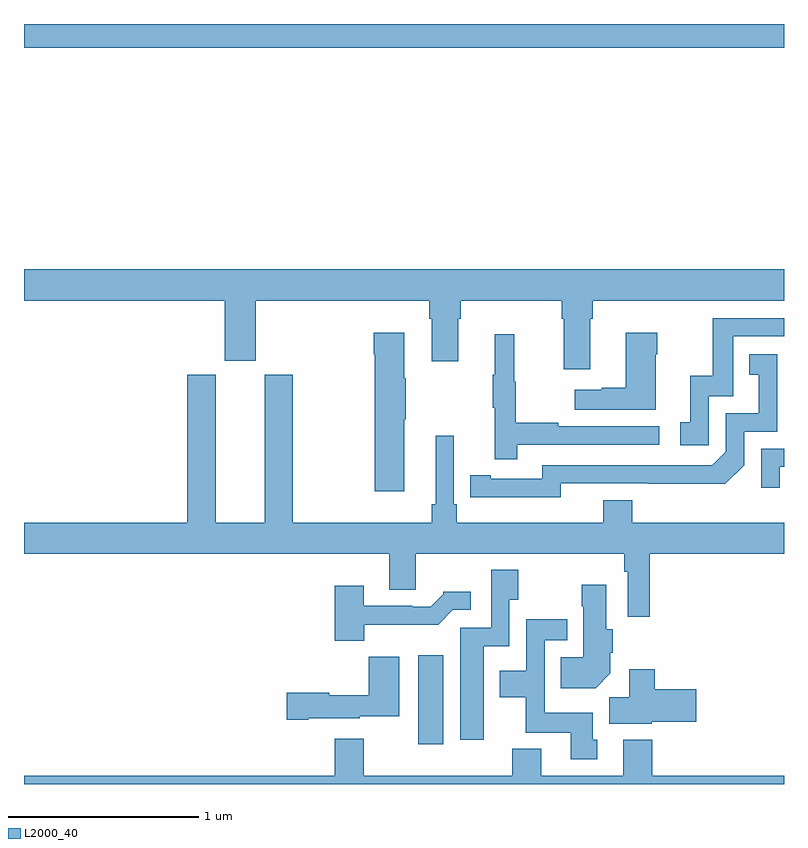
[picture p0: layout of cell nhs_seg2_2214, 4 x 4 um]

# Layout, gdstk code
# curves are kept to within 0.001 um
import gdstk
lib = gdstk.Library(unit=1e-6, precision=1e-09)
def R(c, l, rs):  # rectangles x0, y0, x1, y1
    for r in rs: c.add(gdstk.rectangle(r[:2], r[2:], *l))
def P(c, l, *ps):  # polygons
    for p in ps: c.add(gdstk.Polygon(p, *l))
L2000_40 = (2000, 40)

nhs_seg2_2214 = lib.new_cell('nhs_seg2_2214')
R(nhs_seg2_2214, L2000_40, [(229.076,604.008,229.207,604.477), (227,607.676,231,607.8)])
P(nhs_seg2_2214, L2000_40, [(229.981,606.248),(229.994,606.248),(229.994,606.344),(231,606.344),(231,606.508),(227,606.508),(227,606.344),(228.056,606.344),(228.056,606.027),(228.22,606.027),(228.22,606.344),(229.133,606.344),(229.133,606.248),(229.145,606.248),(229.145,606.024),(229.285,606.024),(229.285,606.248),(229.298,606.248),(229.298,606.344),(229.829,606.344),(229.829,606.248),(229.841,606.248),(229.841,605.982),(229.981,605.982)],
  [(230.604,605.841),(230.733,605.841),(230.733,606.156),(231,606.156),(231,606.252),(230.625,606.252),(230.625,605.95),(230.507,605.95),(230.507,605.703),(230.454,605.703),(230.454,605.583),(230.604,605.583)],
  [(230.326,606.062),(230.334,606.062),(230.334,606.175),(230.168,606.175),(230.168,605.885),(230.042,605.885),(230.042,605.875),(229.899,605.875),(229.899,605.771),(230.326,605.771)],
  [(229,605.719),(229.008,605.719),(229.008,605.936),(229,605.936),(229,606.175),(228.842,606.175),(228.842,606.062),(228.847,606.062),(228.847,605.34),(229,605.34)],
  [(229.595,605.586),(230.344,605.586),(230.344,605.682),(229.811,605.682),(229.811,605.702),(229.588,605.702),(229.588,605.916),(229.58,605.916),(229.58,606.166),(229.478,606.166),(229.478,605.953),(229.467,605.953),(229.467,605.779),(229.478,605.779),(229.478,605.508),(229.595,605.508)],
  [(229.824,605.382),(230.692,605.381),(230.79,605.478),(230.79,605.655),(230.964,605.655),(230.964,606.061),(230.818,606.061),(230.818,605.955),(230.867,605.955),(230.867,605.751),(230.694,605.751),(230.694,605.55),(230.622,605.478),(229.728,605.478),(229.728,605.406),(229.456,605.406),(229.456,605.426),(229.348,605.426),(229.348,605.31),(229.824,605.309)],
  [(230.294,605.012),(231,605.012),(231,605.176),(230.201,605.176),(230.201,605.293),(230.048,605.293),(230.048,605.176),(229.277,605.176),(229.277,605.272),(229.263,605.272),(229.263,605.632),(229.166,605.632),(229.166,605.272),(229.147,605.272),(229.147,605.176),(228.414,605.176),(228.414,605.955),(228.266,605.955),(228.266,605.176),(228.01,605.176),(228.01,605.955),(227.858,605.955),(227.858,605.176),(227,605.176),(227,605.012),(228.923,605.012),(228.923,604.822),(229.063,604.822),(229.063,605.012),(230.158,605.012),(230.158,604.916),(230.178,604.916),(230.178,604.68),(230.294,604.68)],
  [(230.977,605.469),(231,605.469),(231,605.565),(230.88,605.565),(230.88,605.358),(230.977,605.358)],
  [(229.42,604.526),(229.554,604.526),(229.554,604.771),(229.602,604.771),(229.602,604.927),(229.458,604.927),(229.458,604.623),(229.295,604.623),(229.295,604.032),(229.42,604.032)],
  [(230.086,604.382),(230.086,604.492),(230.099,604.492),(230.099,604.614),(230.065,604.614),(230.065,604.849),(229.936,604.849),(229.936,604.736),(229.943,604.736),(229.943,604.468),(229.825,604.468),(229.825,604.304),(230.008,604.304)],
  [(228.79,604.638),(229.179,604.638),(229.257,604.716),(229.351,604.716),(229.351,604.813),(229.206,604.813),(229.206,604.798),(229.142,604.734),(229.043,604.734),(229.043,604.737),(228.787,604.737),(228.787,604.843),(228.635,604.843),(228.635,604.553),(228.79,604.553)],
  [(230.017,604.032),(229.993,604.032),(229.993,604.174),(229.74,604.174),(229.74,604.557),(229.858,604.557),(229.858,604.666),(229.644,604.666),(229.644,604.396),(229.505,604.396),(229.505,604.256),(229.642,604.256),(229.642,604.07),(229.877,604.07),(229.877,603.93),(230.017,603.93)],
  [(228.496,604.145),(228.768,604.145),(228.768,604.157),(228.976,604.157),(228.976,604.471),(228.814,604.471),(228.814,604.267),(228.606,604.267),(228.606,604.28),(228.384,604.28),(228.384,604.138),(228.496,604.138)],
  [(230.304,604.127),(230.539,604.127),(230.539,604.298),(230.321,604.298),(230.321,604.405),(230.186,604.405),(230.186,604.256),(230.081,604.256),(230.081,604.118),(230.304,604.118)],
  [(231,603.844),(230.306,603.844),(230.306,604.033),(230.153,604.033),(230.153,603.844),(229.723,603.844),(229.723,603.985),(229.571,603.985),(229.571,603.844),(228.787,603.844),(228.787,604.039),(228.635,604.039),(228.635,603.844),(227,603.844),(227,603.8),(231,603.8)])

lib.write_gds('nhs_seg2_2214.gds')
